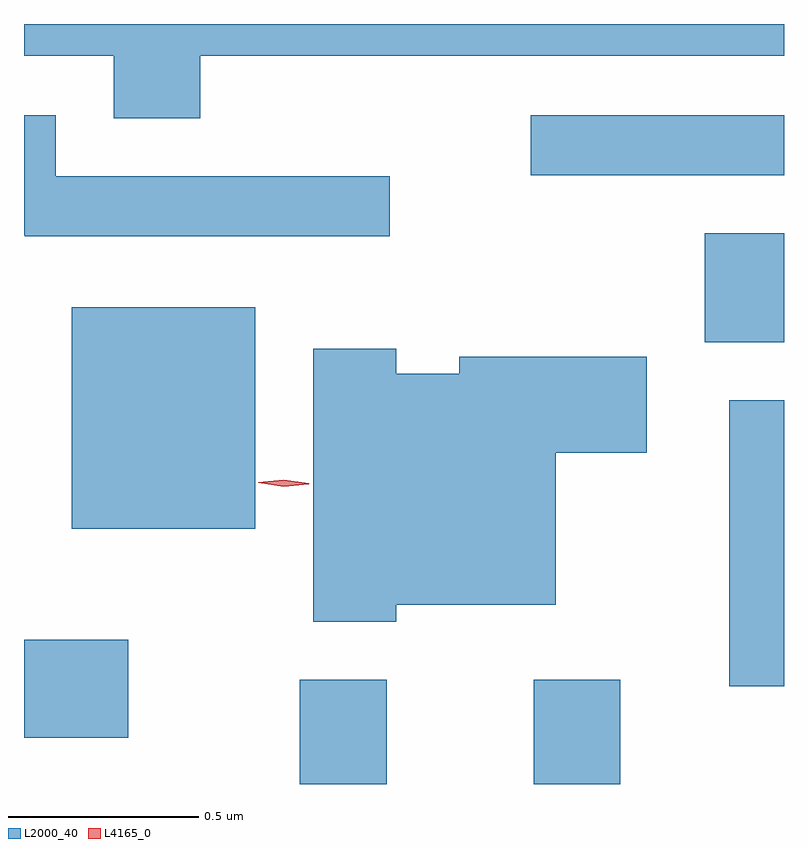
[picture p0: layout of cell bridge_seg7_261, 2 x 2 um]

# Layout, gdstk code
import gdstk
lib = gdstk.Library(unit=1e-6, precision=1e-09)
def R(c, l, rs):  # rectangles x0, y0, x1, y1
    for r in rs: c.add(gdstk.rectangle(r[:2], r[2:], *l))
def P(c, l, *ps):  # polygons
    for p in ps: c.add(gdstk.Polygon(p, *l))
L2000_40 = (2000, 40)
L4165_0 = (4165, 0)

bridge_seg7_261 = lib.new_cell('bridge_seg7_261')
R(bridge_seg7_261, L2000_40, [(1805.871,1727.939,1806.099,1728.214), (1806.486,1727.939,1806.714,1728.214), (1805.145,1728.061,1805.419,1728.319), (1807.001,1728.196,1807.145,1728.949), (1805.271,1728.611,1805.754,1729.194), (1806.936,1729.101,1807.145,1729.389), (1806.478,1729.541,1807.145,1729.699)])
P(bridge_seg7_261, L2000_40, [(1805.609,1729.856),(1807.145,1729.856),(1807.145,1729.939),(1805.145,1729.939),(1805.145,1729.856),(1805.381,1729.856),(1805.381,1729.691),(1805.609,1729.691)],
  [(1806.108,1729.539),(1805.229,1729.539),(1805.229,1729.699),(1805.145,1729.699),(1805.145,1729.383),(1805.147,1729.381),(1806.108,1729.381)],
  [(1806.124,1728.411),(1806.544,1728.411),(1806.544,1728.811),(1806.784,1728.811),(1806.784,1729.064),(1806.291,1729.064),(1806.291,1729.019),(1806.124,1729.019),(1806.124,1729.084),(1805.906,1729.084),(1805.906,1728.366),(1806.124,1728.366)])
P(bridge_seg7_261, L4165_0, [(1805.828,1728.721),(1805.762,1728.732),(1805.762,1728.732),(1805.762,1728.733),(1805.828,1728.74),(1805.894,1728.73),(1805.895,1728.729),(1805.894,1728.728)])

lib.write_gds('bridge_seg7_261.gds')
